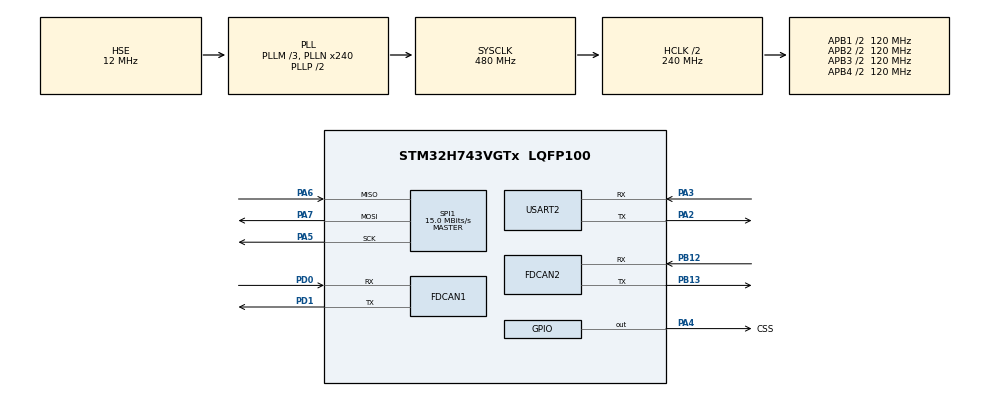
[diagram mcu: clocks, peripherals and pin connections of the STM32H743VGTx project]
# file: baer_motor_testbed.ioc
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FDCAN1.DataPrescaler=8
FDCAN1.DataTimeSeg1=12
FDCAN1.DataTimeSeg2=2
FDCAN1.NominalPrescaler=8
FDCAN1.NominalTimeSeg1=12
FDCAN1.RxFifo0ElmtsNbr=16
FDCAN1.TxFifoQueueElmtsNbr=16
FDCAN2.DataPrescaler=8
FDCAN2.DataTimeSeg1=12
FDCAN2.DataTimeSeg2=2
FDCAN2.MessageRAMOffset=1024
FDCAN2.NominalPrescaler=8
FDCAN2.NominalTimeSeg1=12
FDCAN2.RxFifo0ElmtsNbr=16
FDCAN2.TxFifoQueueElmtsNbr=16
Mcu.Family=STM32H7
Mcu.Name=STM32H743VGTx
Mcu.Package=LQFP100
NVIC.PriorityGroup=NVIC_PRIORITYGROUP_4
NVIC.TIM5_IRQn=true\:0\:0\:false\:false\:true\:true\:true\:true
PA2.Mode=Asynchronous
PA2.Signal=USART2_TX
PA3.Mode=Asynchronous
PA3.Signal=USART2_RX
PA4.GPIO_Label=CSS
PA4.Signal=GPIO_Output
PA5.Mode=Full_Duplex_Master
PA5.Signal=SPI1_SCK
PA6.Mode=Full_Duplex_Master
PA6.Signal=SPI1_MISO
PA7.Mode=Full_Duplex_Master
PA7.Signal=SPI1_MOSI
PB12.Mode=FDCAN_Activate
PB12.Signal=FDCAN2_RX
PB13.Mode=FDCAN_Activate
PB13.Signal=FDCAN2_TX
PD0.Mode=FDCAN_Activate
PD0.Signal=FDCAN1_RX
PD1.Mode=FDCAN_Activate
PD1.Signal=FDCAN1_TX
PH0-OSC_IN\ (PH0).Mode=HSE-External-Oscillator
PH0-OSC_IN\ (PH0).Signal=RCC_OSC_IN
PH1-OSC_OUT\ (PH1).Mode=HSE-External-Oscillator
PH1-OSC_OUT\ (PH1).Signal=RCC_OSC_OUT
ProjectManager.HeapSize=0x200
ProjectManager.StackSize=0x400
ProjectManager.TargetToolchain=STM32CubeIDE
RCC.ADCFreq_Value=24187500
RCC.APB1Freq_Value=120000000
RCC.APB2Freq_Value=120000000
RCC.APB3Freq_Value=120000000
RCC.APB4Freq_Value=120000000
RCC.CortexFreq_Value=480000000
RCC.D1PPRE=RCC_APB3_DIV2
RCC.D2PPRE1=RCC_APB1_DIV2
RCC.D2PPRE2=RCC_APB2_DIV2
RCC.D3PPRE=RCC_APB4_DIV2
RCC.DIVM1=3
RCC.DIVN1=240
RCC.DIVQ1=8
RCC.HCLKFreq_Value=240000000
RCC.HPRE=RCC_HCLK_DIV2
RCC.HSE_VALUE=12000000
RCC.PLLSourceVirtual=RCC_PLLSOURCE_HSE
RCC.SYSCLKFreq_VALUE=480000000
RCC.SYSCLKSource=RCC_SYSCLKSOURCE_PLLCLK
RCC.USBFreq_Value=120000000
SPI1.BaudRatePrescaler=SPI_BAUDRATEPRESCALER_8
SPI1.CLKPhase=SPI_PHASE_2EDGE
SPI1.CLKPolarity=SPI_POLARITY_HIGH
SPI1.CalculateBaudRate=15.0 MBits/s
SPI1.DataSize=SPI_DATASIZE_8BIT
SPI1.Direction=SPI_DIRECTION_2LINES
SPI1.Mode=SPI_MODE_MASTER
SPI1.VirtualType=VM_MASTER
TIM4.Prescaler=239
TIM5.Period=999
TIM5.Prescaler=239
USART2.VirtualMode-Asynchronous=VM_ASYNC
VP_TIM2_VS_ClockSourceINT.Mode=Internal
VP_TIM4_VS_ClockSourceINT.Mode=Internal
VP_TIM5_VS_ClockSourceINT.Mode=Internal
board=custom

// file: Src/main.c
/* USER CODE BEGIN Header */
/**
  ******************************************************************************
  * @file           : main.c
  * @brief          : Main program body
  ******************************************************************************
  * @attention
  *
  * Copyright (c) 2022 STMicroelectronics.
  * All rights reserved.
  *
  * This software is licensed under terms that can be found in the LICENSE file
  * in the root directory of this software component.
  * If no LICENSE file comes with this software, it is provided AS-IS.
  *
  ******************************************************************************
  */
/* USER CODE END Header */
#include "main.h"

/* USER CODE BEGIN Includes */
#include "../lan9252/lan9252.h"

/* USER CODE END Includes */

/* USER CODE BEGIN PD */
PROCBUFFER_OUT 	BufferOut;
PROCBUFFER_IN 	BufferIn;
/* USER CODE END PD */

FDCAN_HandleTypeDef hfdcan1;
FDCAN_HandleTypeDef hfdcan2;

SPI_HandleTypeDef hspi1;

TIM_HandleTypeDef htim2;
TIM_HandleTypeDef htim4;
TIM_HandleTypeDef htim5;

UART_HandleTypeDef huart2;

void SystemClock_Config(void);
static void MX_GPIO_Init(void);
static void MX_SPI1_Init(void);
static void MX_USART2_UART_Init(void);
static void MX_TIM5_Init(void);
static void MX_FDCAN1_Init(void);
static void MX_FDCAN2_Init(void);
static void MX_TIM2_Init(void);
static void MX_TIM4_Init(void);

/* USER CODE BEGIN 0 */
spiCTX ethercat_slave;

void delay_us(uint16_t us)
{
	__HAL_TIM_SET_COUNTER(&htim4, 0);
	while (__HAL_TIM_GET_COUNTER(&htim4) < us) ;
}

// load which work in velocity mode
FDCAN_TxHeaderTypeDef amber_joint_tx;
FDCAN_RxHeaderTypeDef amber_joint_rx;
uint8_t amber_joint_data[8];
uint8_t amber_joint_rx_data[8];

double load_position_;
double load_velocity_;
double load_current_;

uint32_t load_status_;

void load_power_up(FDCAN_TxHeaderTypeDef* joint_tx, uint8_t* data_buffer)
{
	joint_tx->DataLength = FDCAN_DLC_BYTES_2;
	data_buffer[0] = 0x20;
	data_buffer[1] = 0x01;
}

void load_velocity_mode(FDCAN_TxHeaderTypeDef* joint_tx, uint8_t* data_buffer)
{

	joint_tx->DataLength = FDCAN_DLC_BYTES_2;
	data_buffer[0] = 0x20;
	data_buffer[1] = 0x03;
}

void load_power_off(FDCAN_TxHeaderTypeDef* joint_tx, uint8_t* data_buffer)
{
	joint_tx->DataLength = FDCAN_DLC_BYTES_2;
	data_buffer[0] = 0x20;
	data_buffer[1] = 0x00;
}

union Byte2 {
	int16_t d_data;
	uint8_t buffer[2];
};

void load_pack_velocity_msg(FDCAN_TxHeaderTypeDef* joint_tx, uint8_t* data_buffer, double speed)
{
	joint_tx->DataLength = FDCAN_DLC_BYTES_3;
	data_buffer[0] = 0x41;
	union Byte2 byte_2;

	double velocity_des = speed * 57.2958;

	byte_2.d_data = (int16_t)velocity_des;

	data_buffer[1] = byte_2.buffer[1];
	data_buffer[2] = byte_2.buffer[0];
}

void load_unpack_msg(FDCAN_RxHeaderTypeDef* joint_rx, uint8_t* data_buffer)
{
	int id = joint_rx->Identifier - 0x40;

	if (id == 1)
	{
		int16_t p_int = (data_buffer[1] << 8) | data_buffer[2];
		int16_t v_int = (data_buffer[3] << 8) |  data_buffer[4];
		int16_t i_int =  (data_buffer[5] << 8) |  data_buffer[6];

		load_position_ = (p_int / 128.0f) / 57.2958f;
		load_velocity_ = (v_int * 1.0f) / 57.2958f;
		load_current_ = i_int / 256.0f;

		load_status_ = (data_buffer[7] << 8) | data_buffer[0];
	}

}

// motor control func

#define P_MIN (-12.5f)
#define P_MAX (12.5f)
#define V_MIN (-65.0f)
#define V_MAX (65.0f)
#define T_MIN (-60.0f)
#define T_MAX (60.0f)
#define KP_MIN (0.0f)     // N-m/rad
#define KP_MAX (500.0f)
#define KD_MIN (0.0f)     // N-m/rad/s
#define KD_MAX (5.0f)

#define LIMIT_MIN_MAX(x,min,max) (x) = (((x)<=(min))?(min):(((x)>=(max))?(max):(x)))

float motor_position;
float motor_velocity;
float motor_torque;
uint32_t motor_status;

static uint16_t float_to_uint(float x, float x_min, float x_max, uint8_t bits)
{
	float span = x_max - x_min;
	float offset = x_min;

	return (uint16_t)((x - offset)*((float)((1 << bits) - 1)) / span);
}

FDCAN_TxHeaderTypeDef motor_joint_tx;
FDCAN_RxHeaderTypeDef motor_joint_rx;
uint8_t motor_joint_data[8];
uint8_t motor_joint_rx_data[8];

void motor_pack_data(FDCAN_TxHeaderTypeDef* joint_tx, float f_p, float f_v, float f_kp, float f_kd, float f_t)
{
	joint_tx->DataLength = FDCAN_DLC_BYTES_8;
	uint16_t p, v, kp, kd, t;

	LIMIT_MIN_MAX(f_p, P_MIN, P_MAX);
	LIMIT_MIN_MAX(f_v, V_MIN, V_MAX);
	LIMIT_MIN_MAX(f_kp, KP_MIN, KP_MAX);
	LIMIT_MIN_MAX(f_kd, KD_MIN, KD_MAX);
	LIMIT_MIN_MAX(f_t, T_MIN, T_MAX);

	p = float_to_uint(f_p, P_MIN, P_MAX, 16);
	v = float_to_uint(f_v, V_MIN, V_MAX, 12);
	kp = float_to_uint(f_kp, KP_MIN, KP_MAX, 12);
	kd = float_to_uint(f_kd, KD_MIN, KD_MAX, 12);
	t = float_to_uint(f_t, T_MIN, T_MAX, 12);

	motor_joint_data[0] = p >> 8;
	motor_joint_data[1] = p & 0xFF;
	motor_joint_data[2] = v >> 4;
	motor_joint_data[3] = ((v & 0xF) << 4) | (kp >> 8);
	motor_joint_data[4] = kp & 0xFF;
	motor_joint_data[5] = kd >> 4;
	motor_joint_data[6] = ((kd & 0xF) << 4) | (t >> 8);
	motor_joint_data[7] = t & 0xff;
}

float uint_to_float(int x_int, float x_min, float x_max, int bits)
{
	/// converts unsigned int to float, given range and number of bit ///
	float span = x_max - x_min;
	float offset = x_min;
	return ((float)x_int)*span / ((float)((1 << bits) - 1)) + offset;
}

void motor_enable(FDCAN_TxHeaderTypeDef* joint_tx, uint8_t* data_buffer)
{
	joint_tx->DataLength = FDCAN_DLC_BYTES_8;
	data_buffer[0] = 0xff;
	data_buffer[1] = 0xff;
	data_buffer[2] = 0xff;
	data_buffer[3] = 0xff;
	data_buffer[4] = 0xff;
	data_buffer[5] = 0xff;
	data_buffer[6] = 0xff;
	data_buffer[7] = 0xfc;
}

void motor_zero(FDCAN_TxHeaderTypeDef* joint_tx, uint8_t* data_buffer)
{
	joint_tx->DataLength = FDCAN_DLC_BYTES_8;
	data_buffer[0] = 0xff;
	data_buffer[1] = 0xff;
	data_buffer[2] = 0xff;
	data_buffer[3] = 0xff;
	data_buffer[4] = 0xff;
	data_buffer[5] = 0xff;
	data_buffer[6] = 0xff;
	data_buffer[7] = 0xfe;
}

void motor_disable(FDCAN_TxHeaderTypeDef* joint_tx, uint8_t* data_buffer)
{
	joint_tx->DataLength = FDCAN_DLC_BYTES_8;
	data_buffer[0] = 0xff;
	data_buffer[1] = 0xff;
	data_buffer[2] = 0xff;
	data_buffer[3] = 0xff;
	data_buffer[4] = 0xff;
	data_buffer[5] = 0xff;
	data_buffer[6] = 0xff;
	data_buffer[7] = 0xfd;
}

uint64_t hs_ = 0;
float msg_time_;
void motor_unpack_msg(FDCAN_RxHeaderTypeDef* joint_rx, uint8_t* data_buffer)
{
	int id, p_int=0x00, v_int=0x00, t_int=0x00;
	id = data_buffer[0];
	p_int = (data_buffer[1] << 8)| (0x00ff & data_buffer[2]);
	v_int = (data_buffer[3] << 4) | ((0x00ff & data_buffer[4]) >> 4);
	t_int = ((data_buffer[4] & 0xF) << 8) | (0x00ff&data_buffer[5]);
	p_int &= 0x0000ffff; //16bit
	v_int &= 0x00000fff; //12bit
	t_int &= 0x00000fff; //12bit

	motor_position = uint_to_float(p_int,P_MIN,P_MAX,16);
	motor_velocity = uint_to_float(v_int,V_MIN,V_MAX,12);
	motor_torque = uint_to_float(t_int,T_MIN,T_MAX,12);
	motor_status = ((data_buffer[6] << 8) | data_buffer[7]);

	msg_time_ = (float)hs_;
}

/* USER CODE END 0 */

int main(void)
{

  /* MCU Configuration--------------------------------------------------------*/

  /* Reset of all peripherals, Initializes the Flash interface and the Systick. */
  HAL_Init();

  /* Configure the system clock */
  SystemClock_Config();

  /* Initialize all configured peripherals */
  MX_GPIO_Init();
  MX_SPI1_Init();
  MX_USART2_UART_Init();
  MX_TIM5_Init();
  MX_FDCAN1_Init();
  MX_FDCAN2_Init();
  MX_TIM2_Init();
  MX_TIM4_Init();
  /* USER CODE BEGIN 2 */

	// 2. init load motor var
	amber_joint_tx.Identifier = 0x11;
	amber_joint_tx.IdType = FDCAN_STANDARD_ID;
	amber_joint_tx.TxFrameType = FDCAN_DATA_FRAME;
	amber_joint_tx.DataLength = FDCAN_DLC_BYTES_8;
	amber_joint_tx.ErrorStateIndicator = FDCAN_ESI_ACTIVE;
	amber_joint_tx.BitRateSwitch = FDCAN_BRS_OFF;
	amber_joint_tx.FDFormat = FDCAN_CLASSIC_CAN;
	amber_joint_tx.TxEventFifoControl = FDCAN_NO_TX_EVENTS;
	amber_joint_tx.MessageMarker = 0;

	//3. init motor var

	motor_joint_tx.Identifier = 1;
	motor_joint_tx.IdType = FDCAN_STANDARD_ID;
	motor_joint_tx.TxFrameType = FDCAN_DATA_FRAME;
	motor_joint_tx.DataLength = FDCAN_DLC_BYTES_8;
	motor_joint_tx.ErrorStateIndicator = FDCAN_ESI_ACTIVE;
	motor_joint_tx.BitRateSwitch = FDCAN_BRS_OFF;
	motor_joint_tx.FDFormat = FDCAN_CLASSIC_CAN;
	motor_joint_tx.TxEventFifoControl = FDCAN_NO_TX_EVENTS;
	motor_joint_tx.MessageMarker = 0;

	HAL_FDCAN_Start(&hfdcan1);
	HAL_FDCAN_Start(&hfdcan2);
	HAL_Delay(10);

	HAL_TIM_Base_Start(&htim2);

	HAL_TIM_Base_Start(&htim4);

	HAL_Delay(10);

	ethercat_slave.spi = &hspi1;
	ethercat_slave.uart = &huart2;
	ethercat_slave.bIn = &BufferIn;
	ethercat_slave.bOut = &BufferOut;
	HAL_Delay(100);
	init9252(&ethercat_slave);
	HAL_Delay(100);

	HAL_TIM_Base_Start_IT(&htim5);
	HAL_Delay(100);

  /* USER CODE END 2 */

  /* Infinite loop */
  while (1)
  {

    /* USER CODE BEGIN 3 */
	  if (HAL_FDCAN_GetRxMessage(&hfdcan2, FDCAN_RX_FIFO0, &amber_joint_rx, amber_joint_rx_data) == HAL_OK)
	  {
		  load_unpack_msg(&amber_joint_rx, amber_joint_rx_data);
	  }
	  if (HAL_FDCAN_GetRxMessage(&hfdcan1, FDCAN_RX_FIFO0, &motor_joint_rx, motor_joint_rx_data) == HAL_OK)
	  {
		  motor_unpack_msg(&motor_joint_rx, motor_joint_rx_data);
	  }
	  delay_us(10);
  }
  /* USER CODE END 3 */
}

void SystemClock_Config(void)
{
  RCC_OscInitTypeDef RCC_OscInitStruct = {0};
  RCC_ClkInitTypeDef RCC_ClkInitStruct = {0};

  /** Supply configuration update enable
  */
  HAL_PWREx_ConfigSupply(PWR_LDO_SUPPLY);
  /** Configure the main internal regulator output voltage
  */
  __HAL_PWR_VOLTAGESCALING_CONFIG(PWR_REGULATOR_VOLTAGE_SCALE0);

  while(!__HAL_PWR_GET_FLAG(PWR_FLAG_VOSRDY)) {}
  /** Initializes the RCC Oscillators according to the specified parameters
  * in the RCC_OscInitTypeDef structure.
  */
  RCC_OscInitStruct.OscillatorType = RCC_OSCILLATORTYPE_HSE;
  RCC_OscInitStruct.HSEState = RCC_HSE_ON;
  RCC_OscInitStruct.PLL.PLLState = RCC_PLL_ON;
  RCC_OscInitStruct.PLL.PLLSource = RCC_PLLSOURCE_HSE;
  RCC_OscInitStruct.PLL.PLLM = 3;
  RCC_OscInitStruct.PLL.PLLN = 240;
  RCC_OscInitStruct.PLL.PLLP = 2;
  RCC_OscInitStruct.PLL.PLLQ = 8;
  RCC_OscInitStruct.PLL.PLLR = 2;
  RCC_OscInitStruct.PLL.PLLRGE = RCC_PLL1VCIRANGE_2;
  RCC_OscInitStruct.PLL.PLLVCOSEL = RCC_PLL1VCOWIDE;
  RCC_OscInitStruct.PLL.PLLFRACN = 0;
  if (HAL_RCC_OscConfig(&RCC_OscInitStruct) != HAL_OK)
  {
    Error_Handler();
  }
  /** Initializes the CPU, AHB and APB buses clocks
  */
  RCC_ClkInitStruct.ClockType = RCC_CLOCKTYPE_HCLK|RCC_CLOCKTYPE_SYSCLK
                              |RCC_CLOCKTYPE_PCLK1|RCC_CLOCKTYPE_PCLK2
                              |RCC_CLOCKTYPE_D3PCLK1|RCC_CLOCKTYPE_D1PCLK1;
  RCC_ClkInitStruct.SYSCLKSource = RCC_SYSCLKSOURCE_PLLCLK;
  RCC_ClkInitStruct.SYSCLKDivider = RCC_SYSCLK_DIV1;
  RCC_ClkInitStruct.AHBCLKDivider = RCC_HCLK_DIV2;
  RCC_ClkInitStruct.APB3CLKDivider = RCC_APB3_DIV2;
  RCC_ClkInitStruct.APB1CLKDivider = RCC_APB1_DIV2;
  RCC_ClkInitStruct.APB2CLKDivider = RCC_APB2_DIV2;
  RCC_ClkInitStruct.APB4CLKDivider = RCC_APB4_DIV2;

  if (HAL_RCC_ClockConfig(&RCC_ClkInitStruct, FLASH_LATENCY_4) != HAL_OK)
  {
    Error_Handler();
  }
}

static void MX_FDCAN1_Init(void)
{

  hfdcan1.Instance = FDCAN1;
  hfdcan1.Init.FrameFormat = FDCAN_FRAME_CLASSIC;
  hfdcan1.Init.Mode = FDCAN_MODE_NORMAL;
  hfdcan1.Init.AutoRetransmission = DISABLE;
  hfdcan1.Init.TransmitPause = DISABLE;
  hfdcan1.Init.ProtocolException = DISABLE;
  hfdcan1.Init.NominalPrescaler = 8;
  hfdcan1.Init.NominalSyncJumpWidth = 1;
  hfdcan1.Init.NominalTimeSeg1 = 12;
  hfdcan1.Init.NominalTimeSeg2 = 2;
  hfdcan1.Init.DataPrescaler = 8;
  hfdcan1.Init.DataSyncJumpWidth = 1;
  hfdcan1.Init.DataTimeSeg1 = 12;
  hfdcan1.Init.DataTimeSeg2 = 2;
  hfdcan1.Init.MessageRAMOffset = 0;
  hfdcan1.Init.StdFiltersNbr = 0;
  hfdcan1.Init.ExtFiltersNbr = 0;
  hfdcan1.Init.RxFifo0ElmtsNbr = 16;
  hfdcan1.Init.RxFifo0ElmtSize = FDCAN_DATA_BYTES_8;
  hfdcan1.Init.RxFifo1ElmtsNbr = 0;
  hfdcan1.Init.RxFifo1ElmtSize = FDCAN_DATA_BYTES_8;
  hfdcan1.Init.RxBuffersNbr = 0;
  hfdcan1.Init.RxBufferSize = FDCAN_DATA_BYTES_8;
  hfdcan1.Init.TxEventsNbr = 0;
  hfdcan1.Init.TxBuffersNbr = 0;
  hfdcan1.Init.TxFifoQueueElmtsNbr = 16;
  hfdcan1.Init.TxFifoQueueMode = FDCAN_TX_FIFO_OPERATION;
  hfdcan1.Init.TxElmtSize = FDCAN_DATA_BYTES_8;
  if (HAL_FDCAN_Init(&hfdcan1) != HAL_OK)
  {
    Error_Handler();
  }

}

static void MX_FDCAN2_Init(void)
{

  hfdcan2.Instance = FDCAN2;
  hfdcan2.Init.FrameFormat = FDCAN_FRAME_CLASSIC;
  hfdcan2.Init.Mode = FDCAN_MODE_NORMAL;
  hfdcan2.Init.AutoRetransmission = DISABLE;
  hfdcan2.Init.TransmitPause = DISABLE;
  hfdcan2.Init.ProtocolException = DISABLE;
  hfdcan2.Init.NominalPrescaler = 8;
  hfdcan2.Init.NominalSyncJumpWidth = 1;
  hfdcan2.Init.NominalTimeSeg1 = 12;
  hfdcan2.Init.NominalTimeSeg2 = 2;
  hfdcan2.Init.DataPrescaler = 8;
  hfdcan2.Init.DataSyncJumpWidth = 1;
  hfdcan2.Init.DataTimeSeg1 = 12;
  hfdcan2.Init.DataTimeSeg2 = 2;
  hfdcan2.Init.MessageRAMOffset = 1024;
  hfdcan2.Init.StdFiltersNbr = 0;
  hfdcan2.Init.ExtFiltersNbr = 0;
  hfdcan2.Init.RxFifo0ElmtsNbr = 16;
  hfdcan2.Init.RxFifo0ElmtSize = FDCAN_DATA_BYTES_8;
  hfdcan2.Init.RxFifo1ElmtsNbr = 0;
  hfdcan2.Init.RxFifo1ElmtSize = FDCAN_DATA_BYTES_8;
  hfdcan2.Init.RxBuffersNbr = 0;
  hfdcan2.Init.RxBufferSize = FDCAN_DATA_BYTES_8;
  hfdcan2.Init.TxEventsNbr = 0;
  hfdcan2.Init.TxBuffersNbr = 0;
  hfdcan2.Init.TxFifoQueueElmtsNbr = 16;
  hfdcan2.Init.TxFifoQueueMode = FDCAN_TX_FIFO_OPERATION;
  hfdcan2.Init.TxElmtSize = FDCAN_DATA_BYTES_8;
  if (HAL_FDCAN_Init(&hfdcan2) != HAL_OK)
  {
    Error_Handler();
  }

}

static void MX_SPI1_Init(void)
{

  /* SPI1 parameter configuration*/
  hspi1.Instance = SPI1;
  hspi1.Init.Mode = SPI_MODE_MASTER;
  hspi1.Init.Direction = SPI_DIRECTION_2LINES;
  hspi1.Init.DataSize = SPI_DATASIZE_8BIT;
  hspi1.Init.CLKPolarity = SPI_POLARITY_HIGH;
  hspi1.Init.CLKPhase = SPI_PHASE_2EDGE;
  hspi1.Init.NSS = SPI_NSS_SOFT;
  hspi1.Init.BaudRatePrescaler = SPI_BAUDRATEPRESCALER_8;
  hspi1.Init.FirstBit = SPI_FIRSTBIT_MSB;
  hspi1.Init.TIMode = SPI_TIMODE_DISABLE;
  hspi1.Init.CRCCalculation = SPI_CRCCALCULATION_DISABLE;
  hspi1.Init.CRCPolynomial = 0x0;
  hspi1.Init.NSSPMode = SPI_NSS_PULSE_ENABLE;
  hspi1.Init.NSSPolarity = SPI_NSS_POLARITY_LOW;
  hspi1.Init.FifoThreshold = SPI_FIFO_THRESHOLD_01DATA;
  hspi1.Init.TxCRCInitializationPattern = SPI_CRC_INITIALIZATION_ALL_ZERO_PATTERN;
  hspi1.Init.RxCRCInitializationPattern = SPI_CRC_INITIALIZATION_ALL_ZERO_PATTERN;
  hspi1.Init.MasterSSIdleness = SPI_MASTER_SS_IDLENESS_00CYCLE;
  hspi1.Init.MasterInterDataIdleness = SPI_MASTER_INTERDATA_IDLENESS_00CYCLE;
  hspi1.Init.MasterReceiverAutoSusp = SPI_MASTER_RX_AUTOSUSP_DISABLE;
  hspi1.Init.MasterKeepIOState = SPI_MASTER_KEEP_IO_STATE_DISABLE;
  hspi1.Init.IOSwap = SPI_IO_SWAP_DISABLE;
  if (HAL_SPI_Init(&hspi1) != HAL_OK)
  {
    Error_Handler();
  }

}

static void MX_TIM2_Init(void)
{

  TIM_ClockConfigTypeDef sClockSourceConfig = {0};
  TIM_MasterConfigTypeDef sMasterConfig = {0};

  htim2.Instance = TIM2;
  htim2.Init.Prescaler = 0;
  htim2.Init.CounterMode = TIM_COUNTERMODE_UP;
  htim2.Init.Period = 4294967295;
  htim2.Init.ClockDivision = TIM_CLOCKDIVISION_DIV1;
  htim2.Init.AutoReloadPreload = TIM_AUTORELOAD_PRELOAD_DISABLE;
  if (HAL_TIM_Base_Init(&htim2) != HAL_OK)
  {
    Error_Handler();
  }
  sClockSourceConfig.ClockSource = TIM_CLOCKSOURCE_INTERNAL;
  if (HAL_TIM_ConfigClockSource(&htim2, &sClockSourceConfig) != HAL_OK)
  {
    Error_Handler();
  }
  sMasterConfig.MasterOutputTrigger = TIM_TRGO_RESET;
  sMasterConfig.MasterSlaveMode = TIM_MASTERSLAVEMODE_DISABLE;
  if (HAL_TIMEx_MasterConfigSynchronization(&htim2, &sMasterConfig) != HAL_OK)
  {
    Error_Handler();
  }

}

static void MX_TIM4_Init(void)
{

  TIM_ClockConfigTypeDef sClockSourceConfig = {0};
  TIM_MasterConfigTypeDef sMasterConfig = {0};

  htim4.Instance = TIM4;
  htim4.Init.Prescaler = 239;
  htim4.Init.CounterMode = TIM_COUNTERMODE_UP;
  htim4.Init.Period = 65535;
  htim4.Init.ClockDivision = TIM_CLOCKDIVISION_DIV1;
  htim4.Init.AutoReloadPreload = TIM_AUTORELOAD_PRELOAD_DISABLE;
  if (HAL_TIM_Base_Init(&htim4) != HAL_OK)
  {
    Error_Handler();
  }
  sClockSourceConfig.ClockSource = TIM_CLOCKSOURCE_INTERNAL;
  if (HAL_TIM_ConfigClockSource(&htim4, &sClockSourceConfig) != HAL_OK)
  {
    Error_Handler();
  }
  sMasterConfig.MasterOutputTrigger = TIM_TRGO_RESET;
  sMasterConfig.MasterSlaveMode = TIM_MASTERSLAVEMODE_DISABLE;
  if (HAL_TIMEx_MasterConfigSynchronization(&htim4, &sMasterConfig) != HAL_OK)
  {
    Error_Handler();
  }

}

static void MX_TIM5_Init(void)
{

  TIM_ClockConfigTypeDef sClockSourceConfig = {0};
  TIM_MasterConfigTypeDef sMasterConfig = {0};

  htim5.Instance = TIM5;
  htim5.Init.Prescaler = 239;
  htim5.Init.CounterMode = TIM_COUNTERMODE_UP;
  htim5.Init.Period = 999;
  htim5.Init.ClockDivision = TIM_CLOCKDIVISION_DIV1;
  htim5.Init.AutoReloadPreload = TIM_AUTORELOAD_PRELOAD_DISABLE;
  if (HAL_TIM_Base_Init(&htim5) != HAL_OK)
  {
    Error_Handler();
  }
  sClockSourceConfig.ClockSource = TIM_CLOCKSOURCE_INTERNAL;
  if (HAL_TIM_ConfigClockSource(&htim5, &sClockSourceConfig) != HAL_OK)
  {
    Error_Handler();
  }
  sMasterConfig.MasterOutputTrigger = TIM_TRGO_RESET;
  sMasterConfig.MasterSlaveMode = TIM_MASTERSLAVEMODE_DISABLE;
  if (HAL_TIMEx_MasterConfigSynchronization(&htim5, &sMasterConfig) != HAL_OK)
  {
    Error_Handler();
  }

}

static void MX_USART2_UART_Init(void)
{

  huart2.Instance = USART2;
  huart2.Init.BaudRate = 115200;
  huart2.Init.WordLength = UART_WORDLENGTH_8B;
  huart2.Init.StopBits = UART_STOPBITS_1;
  huart2.Init.Parity = UART_PARITY_NONE;
  huart2.Init.Mode = UART_MODE_TX_RX;
  huart2.Init.HwFlowCtl = UART_HWCONTROL_NONE;
  huart2.Init.OverSampling = UART_OVERSAMPLING_16;
  huart2.Init.OneBitSampling = UART_ONE_BIT_SAMPLE_DISABLE;
  huart2.Init.ClockPrescaler = UART_PRESCALER_DIV1;
  huart2.AdvancedInit.AdvFeatureInit = UART_ADVFEATURE_NO_INIT;
  if (HAL_UART_Init(&huart2) != HAL_OK)
  {
    Error_Handler();
  }
  if (HAL_UARTEx_SetTxFifoThreshold(&huart2, UART_TXFIFO_THRESHOLD_1_8) != HAL_OK)
  {
    Error_Handler();
  }
  if (HAL_UARTEx_SetRxFifoThreshold(&huart2, UART_RXFIFO_THRESHOLD_1_8) != HAL_OK)
  {
    Error_Handler();
  }
  if (HAL_UARTEx_DisableFifoMode(&huart2) != HAL_OK)
  {
    Error_Handler();
  }

}

static void MX_GPIO_Init(void)
{
  GPIO_InitTypeDef GPIO_InitStruct = {0};

  /* GPIO Ports Clock Enable */
  __HAL_RCC_GPIOH_CLK_ENABLE();
  __HAL_RCC_GPIOA_CLK_ENABLE();
  __HAL_RCC_GPIOB_CLK_ENABLE();
  __HAL_RCC_GPIOD_CLK_ENABLE();

  /*Configure GPIO pin Output Level */
  HAL_GPIO_WritePin(CSS_GPIO_Port, CSS_Pin, GPIO_PIN_RESET);

  /*Configure GPIO pin : CSS_Pin */
  GPIO_InitStruct.Pin = CSS_Pin;
  GPIO_InitStruct.Mode = GPIO_MODE_OUTPUT_PP;
  GPIO_InitStruct.Pull = GPIO_NOPULL;
  GPIO_InitStruct.Speed = GPIO_SPEED_FREQ_LOW;
  HAL_GPIO_Init(CSS_GPIO_Port, &GPIO_InitStruct);

}

/* USER CODE BEGIN 4 */

uint16_t can1_error_counter = 0;
uint16_t can2_error_counter = 0;

uint32_t control_word;
int is_load_enable = 0;
int is_motor_enable = 0;
int load_init_state = 0;
int motor_init_state = 0;
uint32_t can_last_error_code = 0;

void control()
{
	uint32_t tmp = (control_word & (2));
	int is_init = 0;
	if ((control_word & (2)) == 2 && is_load_enable == 0)
	{
		can2_error_counter = 0;
		load_power_up(&amber_joint_tx, amber_joint_data);
		if (HAL_FDCAN_AddMessageToTxFifoQ(&hfdcan2, &amber_joint_tx, amber_joint_data) != HAL_OK)
		{
			can2_error_counter += 1;
		}
		is_load_enable = 1;
		load_init_state = 1;
		is_init = 1;
	}

	if ((control_word & 1) == 1 && is_motor_enable == 0)
	{
		can1_error_counter = 0;
		motor_enable(&motor_joint_tx, motor_joint_data);
		if (HAL_FDCAN_AddMessageToTxFifoQ(&hfdcan1, &motor_joint_tx, motor_joint_data) != HAL_OK)
		{
			can1_error_counter += 1;
		}
		is_motor_enable = 1;
		motor_init_state = 1;
		is_init = 1;
	}
	if (is_init)
	{
		return;
	}

	if (control_word == 0 && (is_motor_enable == 1 || is_load_enable == 1))
	{
		if (is_load_enable == 1)
		{
			load_power_off(&amber_joint_tx, amber_joint_data);
			if (HAL_FDCAN_AddMessageToTxFifoQ(&hfdcan2, &amber_joint_tx, amber_joint_data) != HAL_OK)
			{
				can2_error_counter += 1;
			}
		}
		if (is_motor_enable == 1)
		{
			motor_disable(&motor_joint_tx, motor_joint_data);
			if (HAL_FDCAN_AddMessageToTxFifoQ(&hfdcan1, &motor_joint_tx, motor_joint_data) != HAL_OK)
			{
				can1_error_counter += 1;
			}
		}
		is_motor_enable = 0;
		is_load_enable = 0;
	}

	if (load_init_state == 1)
	{
		load_velocity_mode(&amber_joint_tx, amber_joint_data);
		if (HAL_FDCAN_AddMessageToTxFifoQ(&hfdcan2, &amber_joint_tx, amber_joint_data) != HAL_OK)
		{
			can2_error_counter += 1;
		}
		load_init_state = 0;
	}

	if (motor_init_state == 1)
	{
		motor_zero(&motor_joint_tx, motor_joint_data);
		if (HAL_FDCAN_AddMessageToTxFifoQ(&hfdcan1, &motor_joint_tx, motor_joint_data) != HAL_OK)
		{
			can1_error_counter += 1;
		}
		motor_init_state = 0;
	}

	if (is_load_enable == 1)
	{
		load_pack_velocity_msg(&amber_joint_tx, amber_joint_data, BufferOut.Cust.load_velocity);
		if (HAL_FDCAN_AddMessageToTxFifoQ(&hfdcan2, &amber_joint_tx, amber_joint_data) != HAL_OK)
		{
			can2_error_counter += 1;
		}
	}

	if (is_motor_enable == 1)
	{
		motor_pack_data(&motor_joint_tx, BufferOut.Cust.motor_position_des, BufferOut.Cust.motor_velocity_des,
			BufferOut.Cust.motor_kp, BufferOut.Cust.motor_kd, BufferOut.Cust.motor_torque_des);
		if (HAL_FDCAN_AddMessageToTxFifoQ(&hfdcan1, &motor_joint_tx, motor_joint_data) != HAL_OK)
		{
			can1_error_counter += 1;
		}
	}

}

void pack_ethercat_data()
{
	BufferIn.Cust.hs = hs_;
	BufferIn.Cust.load_velocity = load_velocity_;
	BufferIn.Cust.load_status = load_status_;
	BufferIn.Cust.can1_error_counter = can_last_error_code;
	BufferIn.Cust.can2_error_counter = (can1_error_counter<< 16) | (can2_error_counter & 0xffff);

	// motor
	BufferIn.Cust.motor_position_act = motor_position;
	BufferIn.Cust.motor_velocity_act = motor_velocity;
	BufferIn.Cust.motor_torque_act = motor_torque;
	BufferIn.Cust.motor_status = motor_status;

	// we use load_current to
	BufferIn.Cust.load_current = msg_time_;
}

void HAL_TIM_PeriodElapsedCallback(TIM_HandleTypeDef *htim)
{
	if (htim->Instance == TIM5)
	{
		pack_ethercat_data();
		main_task(&ethercat_slave);
		uint64_t tmp_hs_ = BufferOut.Cust.hs;
		if (tmp_hs_ > hs_ || tmp_hs_ == 1)
		{
			control_word = BufferOut.Cust.control_word;

			control();

			hs_ = tmp_hs_;

			// pack data
			// error check;
			FDCAN_ErrorCountersTypeDef ErrorCounters;
			uint8_t error_counter1;
			uint8_t error_counter2;
			uint8_t error_counter3;
			uint8_t error_counter4;
			HAL_FDCAN_GetErrorCounters(&hfdcan1, &ErrorCounters);
			error_counter1 = (uint8_t)ErrorCounters.RxErrorCnt;
			error_counter2 = (uint8_t)ErrorCounters.TxErrorCnt;
			HAL_FDCAN_GetErrorCounters(&hfdcan2, &ErrorCounters);
			error_counter3 = (uint8_t)ErrorCounters.RxErrorCnt;
			error_counter4 = (uint8_t)ErrorCounters.TxErrorCnt;

			uint32_t can1_lec = READ_REG(hfdcan1.Instance->PSR);
			uint32_t can2_lec = READ_REG(hfdcan2.Instance->PSR);

			can1_lec = can1_lec & 0x0007;
			can2_lec = can2_lec & 0x0007;

			can_last_error_code = (can2_lec << 8) | can1_lec;

			if (hs_ > 100)
			{
				if (error_counter1 > 0 || error_counter2 > 0)
				{
					can1_error_counter += 1;

				}
				if (error_counter3 > 0 || error_counter4 > 0)
				{
					can2_error_counter += 1;
				}
			}
		}
	}
}
/* USER CODE END 4 */

void Error_Handler(void)
{
  __disable_irq();
  while (1)
  {
  }
}
